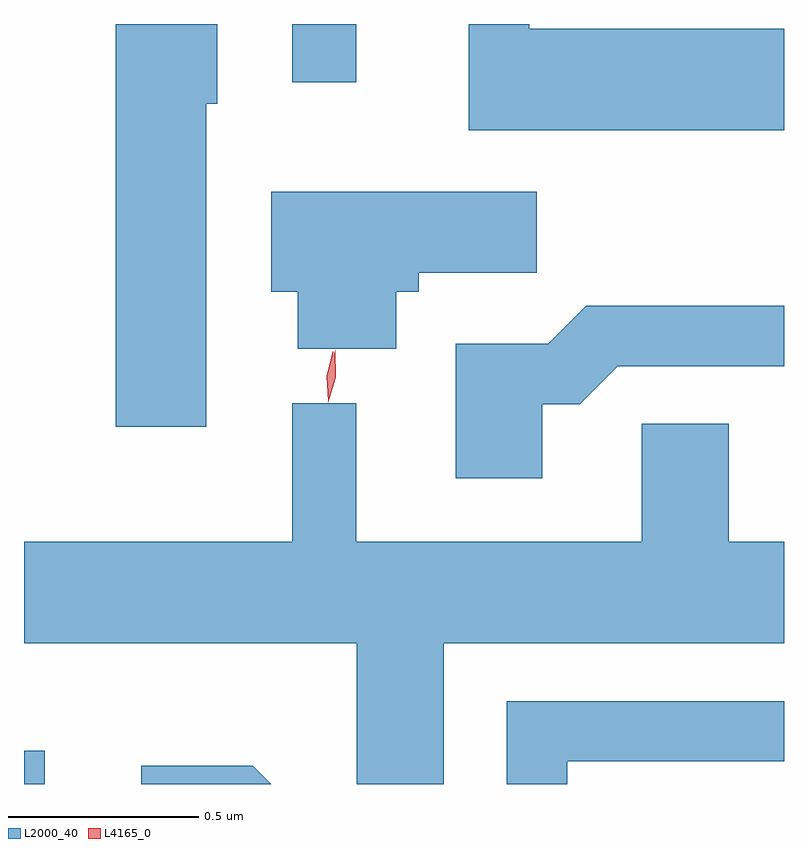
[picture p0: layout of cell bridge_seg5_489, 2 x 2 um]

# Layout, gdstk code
import gdstk
lib = gdstk.Library(unit=1e-6, precision=1e-09)
def R(c, l, rs):  # rectangles x0, y0, x1, y1
    for r in rs: c.add(gdstk.rectangle(r[:2], r[2:], *l))
def P(c, l, *ps):  # polygons
    for p in ps: c.add(gdstk.Polygon(p, *l))
L2000_40 = (2000, 40)
L4165_0 = (4165, 0)

bridge_seg5_489 = lib.new_cell('bridge_seg5_489')
R(bridge_seg5_489, L2000_40, [(546.535,1445.326,546.589,1445.414), (547.241,1447.173,547.409,1447.326)])
P(bridge_seg5_489, L2000_40, [(548.535,1447.314),(547.864,1447.314),(547.864,1447.326),(547.706,1447.326),(547.706,1447.046),(548.535,1447.046)],
  [(547.014,1447.116),(547.044,1447.116),(547.044,1447.326),(546.776,1447.326),(546.776,1446.266),(547.014,1446.266)],
  [(547.514,1446.621),(547.574,1446.621),(547.574,1446.671),(547.884,1446.671),(547.884,1446.884),(547.186,1446.884),(547.186,1446.621),(547.256,1446.621),(547.256,1446.471),(547.514,1446.471)],
  [(547.899,1446.326),(547.997,1446.326),(548.097,1446.426),(548.535,1446.426),(548.535,1446.584),(548.014,1446.584),(547.914,1446.484),(547.671,1446.484),(547.671,1446.131),(547.899,1446.131)],
  [(547.639,1445.696),(548.535,1445.696),(548.535,1445.964),(548.389,1445.964),(548.389,1446.274),(548.161,1446.274),(548.161,1445.964),(547.409,1445.964),(547.409,1446.328),(547.241,1446.328),(547.241,1445.964),(546.535,1445.964),(546.535,1445.696),(547.411,1445.696),(547.411,1445.326),(547.639,1445.326)],
  [(547.964,1445.386),(548.535,1445.386),(548.535,1445.544),(547.806,1445.544),(547.806,1445.326),(547.964,1445.326)],
  [(547.137,1445.374),(546.843,1445.374),(546.843,1445.326),(547.185,1445.326)])
P(bridge_seg5_489, L4165_0, [(547.336,1446.33),(547.336,1446.33),(547.335,1446.399),(547.354,1446.466),(547.354,1446.467),(547.354,1446.466),(547.355,1446.397),(547.336,1446.33)],
  [(547.335,1446.333),(547.335,1446.333),(547.332,1446.399),(547.348,1446.463),(547.349,1446.463),(547.349,1446.463),(547.352,1446.397),(547.336,1446.333)])

lib.write_gds('bridge_seg5_489.gds')
